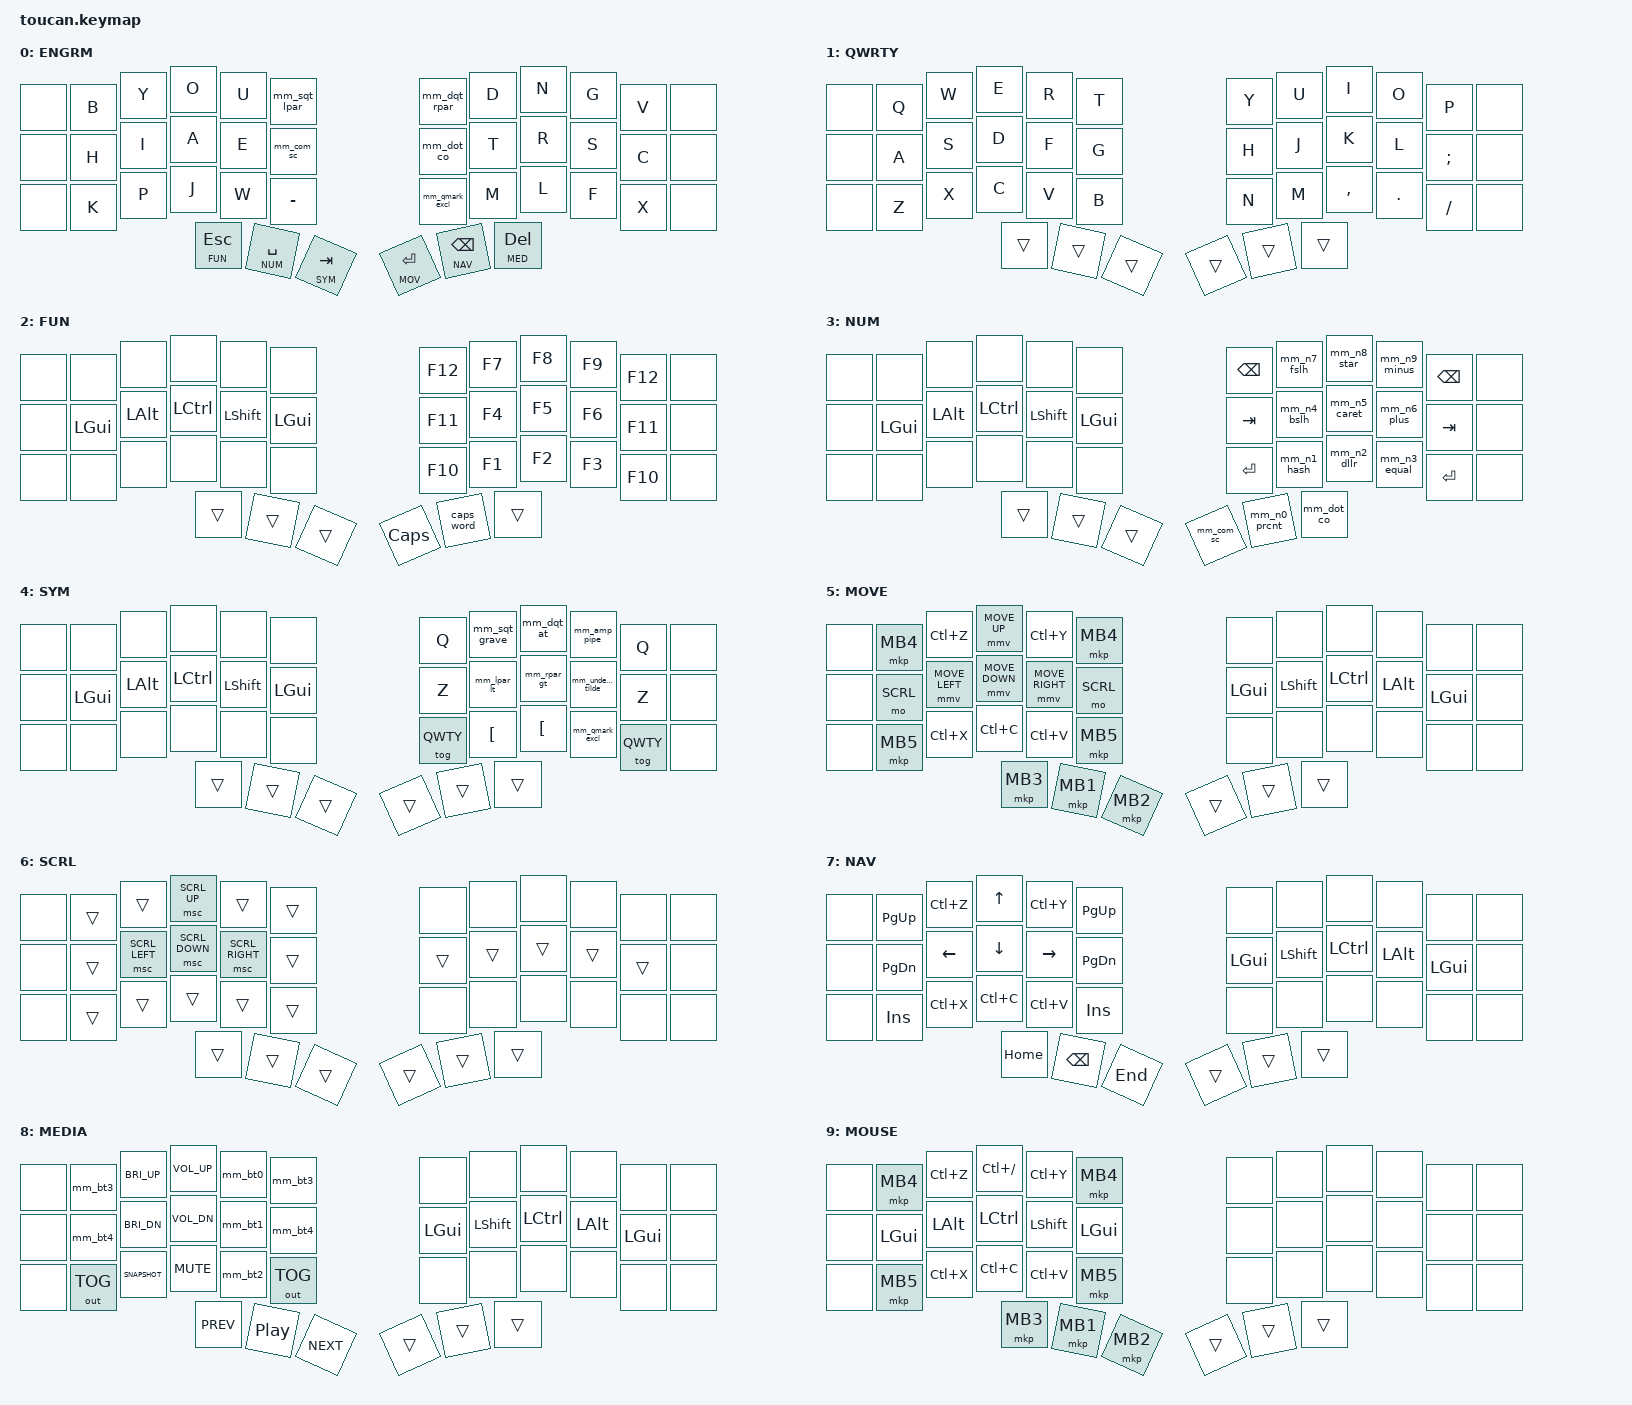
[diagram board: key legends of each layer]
#include <behaviors.dtsi>
#include <dt-bindings/zmk/keys.h>
#include <dt-bindings/zmk/bt.h>
#include <dt-bindings/zmk/outputs.h>
#include <dt-bindings/zmk/pointing.h>
#include <dt-bindings/zmk/rgb.h>

#define BASE  0
#define QWTY  1
#define FUN   2
#define NUM   3
#define SYM   4
#define MOV   5
#define SCRL  6
#define NAV   7
#define MED   8
#define MOS   9

&lt {
    flavor = "balanced";
    //flavor = "hold-preferred";
    //retro-tap;
}; 

/ {

    combos {
        compatible = "zmk,combos";
        combo_lmeta_1 {
            timeout-ms = <50>;
            key-positions = <13 25>;
            bindings = <&kp LGUI>;
        };
        combo_lalt {
            timeout-ms = <50>;
            key-positions = <14 26>;
            bindings = <&kp LALT>;
        };
        combo_lctrl {
            timeout-ms = <50>;
            key-positions = <15 27>;
            bindings = <&kp LCTRL>;
        };
        combo_lshft {
            timeout-ms = <50>;
            key-positions = <16 28>;
            bindings = <&kp LSHFT>;
        };
        combo_lmeta_2 {
            timeout-ms = <50>;
            key-positions = <17 29>;
            bindings = <&kp LGUI>;
        };
        combo_rmeta_1 {
            timeout-ms = <50>;
            key-positions = <18 30>;
            bindings = <&kp RGUI>;
        };
        combo_rshft {
            timeout-ms = <50>;
            key-positions = <19 31>;
            bindings = <&kp RSHFT>;
        };
        combo_rctrl {
            timeout-ms = <50>;
            key-positions = <20 32>;
            bindings = <&kp RCTRL>;
        };
        combo_ralt {
            timeout-ms = <50>;
            key-positions = <21 33>;
            bindings = <&kp RALT>;
        };
        combo_rmeta_2 {
            timeout-ms = <50>;
            key-positions = <22 34>;
            bindings = <&kp RGUI>;
        };
    };

    behaviors {
        // Mod-Morph Definitions for "x/y" (Normal/Shifted)
        mm_amp_pipe: mm_amp_pipe {
            compatible = "zmk,behavior-mod-morph";
            #binding-cells = <0>;
            bindings = <&kp AMPS>, <&kp PIPE>;
            mods = <(MOD_LSFT|MOD_RSFT)>;
        };

        mm_sqt_grave: mm_sqt_grave {
            compatible = "zmk,behavior-mod-morph";
            #binding-cells = <0>;
            bindings = <&kp SQT>, <&kp GRAVE>;
            mods = <(MOD_LSFT|MOD_RSFT)>;
        };

        mm_dqt_at: mm_dqt_at {
            compatible = "zmk,behavior-mod-morph";
            #binding-cells = <0>;
            bindings = <&kp DQT>, <&kp AT>;
            mods = <(MOD_LSFT|MOD_RSFT)>;
        };

        mm_sqt_lpar: mm_sqt_lpar {
            compatible = "zmk,behavior-mod-morph";
            #binding-cells = <0>;
            bindings = <&kp SQT>, <&kp LPAR>;
            mods = <(MOD_LSFT|MOD_RSFT)>;
        };

        mm_dqt_rpar: mm_dqt_rpar {
            compatible = "zmk,behavior-mod-morph";
            #binding-cells = <0>;
            bindings = <&kp DQT>, <&kp RPAR>;
            mods = <(MOD_LSFT|MOD_RSFT)>;
        };

        mm_qmark_excl: mm_qmark_excl {
            compatible = "zmk,behavior-mod-morph";
            #binding-cells = <0>;
            bindings = <&kp QMARK>, <&kp EXCL>;
            mods = <(MOD_LSFT|MOD_RSFT)>;
        };

        mm_underscore_tilde: mm_underscore_tilde {
            compatible = "zmk,behavior-mod-morph";
            #binding-cells = <0>;
            bindings = <&kp UNDER>, <&kp TILDE>;
            mods = <(MOD_LSFT|MOD_RSFT)>;
        };

        // Numerical Morphs
        mm_n7_fslh:  mm_n7_fslh  { compatible = "zmk,behavior-mod-morph"; #binding-cells = <0>; bindings = <&kp N7>, <&kp FSLH>; mods = <(MOD_LSFT|MOD_RSFT)>; };
        mm_n8_star:  mm_n8_star  { compatible = "zmk,behavior-mod-morph"; #binding-cells = <0>; bindings = <&kp N8>, <&kp STAR>;  mods = <(MOD_LSFT|MOD_RSFT)>; };
        mm_n9_minus: mm_n9_minus { compatible = "zmk,behavior-mod-morph"; #binding-cells = <0>; bindings = <&kp N9>, <&kp MINUS>;  mods = <(MOD_LSFT|MOD_RSFT)>; };
        mm_n4_bslh:  mm_n4_bslh  { compatible = "zmk,behavior-mod-morph"; #binding-cells = <0>; bindings = <&kp N4>, <&kp BSLH>;  mods = <(MOD_LSFT|MOD_RSFT)>; };
        mm_n5_caret: mm_n5_caret { compatible = "zmk,behavior-mod-morph"; #binding-cells = <0>; bindings = <&kp N5>, <&kp CARET>;  mods = <(MOD_LSFT|MOD_RSFT)>; };
        mm_n6_plus:  mm_n6_plus  { compatible = "zmk,behavior-mod-morph"; #binding-cells = <0>; bindings = <&kp N6>, <&kp PLUS>; mods = <(MOD_LSFT|MOD_RSFT)>; };
        mm_n1_hash:  mm_n1_hash  { compatible = "zmk,behavior-mod-morph"; #binding-cells = <0>; bindings = <&kp N1>, <&kp HASH>;  mods = <(MOD_LSFT|MOD_RSFT)>; };
        mm_n2_dllr:  mm_n2_dllr  { compatible = "zmk,behavior-mod-morph"; #binding-cells = <0>; bindings = <&kp N2>, <&kp DLLR>;  mods = <(MOD_LSFT|MOD_RSFT)>; };
        mm_n3_equal: mm_n3_equal { compatible = "zmk,behavior-mod-morph"; #binding-cells = <0>; bindings = <&kp N3>, <&kp EQUAL>; mods = <(MOD_LSFT|MOD_RSFT)>; };
        mm_n0_prcnt: mm_n0_prcnt { compatible = "zmk,behavior-mod-morph"; #binding-cells = <0>; bindings = <&kp N0>, <&kp PERCENT>; mods = <(MOD_LSFT|MOD_RSFT)>; };

        // Punctuation Morphs
        mm_com_sc:    mm_com_sc    { compatible = "zmk,behavior-mod-morph"; #binding-cells = <0>; bindings = <&kp COMMA>, <&kp SEMI>; mods = <(MOD_LSFT|MOD_RSFT)>; };
        mm_dot_co:    mm_dot_co    { compatible = "zmk,behavior-mod-morph"; #binding-cells = <0>; bindings = <&kp DOT>, <&kp COLON>;   mods = <(MOD_LSFT|MOD_RSFT)>; };
        mm_lpar_lt:   mm_lpar_lt   { compatible = "zmk,behavior-mod-morph"; #binding-cells = <0>; bindings = <&kp LPAR>, <&kp LT>; mods = <(MOD_LSFT|MOD_RSFT)>; };
        mm_rpar_gt:   mm_rpar_gt   { compatible = "zmk,behavior-mod-morph"; #binding-cells = <0>; bindings = <&kp RPAR>, <&kp GT>; mods = <(MOD_LSFT|MOD_RSFT)>; };

        // BT CLR Macro
        bt_clr: bt_clr {
            compatible = "zmk,behavior-macro-one-param";
            #binding-cells = <1>;
            bindings = <&macro_param_1to2>, <&bt BT_SEL MACRO_PLACEHOLDER>, <&bt BT_CLR>;
        };

        // BT Morphs
        mm_bt0:   mm_bt0   { compatible = "zmk,behavior-mod-morph"; #binding-cells = <0>; bindings = <&bt BT_SEL 0>, <&bt_clr 0>;          mods = <(MOD_LSFT|MOD_RSFT)>; };
        mm_bt1:   mm_bt1   { compatible = "zmk,behavior-mod-morph"; #binding-cells = <0>; bindings = <&bt BT_SEL 1>, <&bt_clr 1>;          mods = <(MOD_LSFT|MOD_RSFT)>; };
        mm_bt2:   mm_bt2   { compatible = "zmk,behavior-mod-morph"; #binding-cells = <0>; bindings = <&bt BT_SEL 2>, <&bt_clr 2>;          mods = <(MOD_LSFT|MOD_RSFT)>; };
        mm_bt3:   mm_bt3   { compatible = "zmk,behavior-mod-morph"; #binding-cells = <0>; bindings = <&bt BT_SEL 3>, <&bt_clr 3>;          mods = <(MOD_LSFT|MOD_RSFT)>; };
        mm_bt4:   mm_bt4   { compatible = "zmk,behavior-mod-morph"; #binding-cells = <0>; bindings = <&bt BT_SEL 4>, <&bt_clr 4>;          mods = <(MOD_LSFT|MOD_RSFT)>; };
    };
    
    keymap {
        compatible = "zmk,keymap";

        base {
            display-name = "ENGRM";
            bindings = <
                &none &kp B &kp Y &kp O &kp U &mm_sqt_lpar    &mm_dqt_rpar   &kp D  &kp N &kp G &kp V &none
                &none &kp H &kp I &kp A &kp E &mm_com_sc      &mm_dot_co     &kp T  &kp R &kp S &kp C &none
                &none &kp K &kp P &kp J &kp W &kp MINUS       &mm_qmark_excl &kp M  &kp L &kp F &kp X &none
                      &lt FUN ESC &lt NUM SPACE &lt SYM TAB   &lt MOV RET &lt NAV BSPC &lt MED DEL
            >;
        };

        qwerty {
            display-name = "QWRTY";
            bindings = <
                &none &kp Q &kp W &kp E &kp R &kp T   &kp Y &kp U  &kp I     &kp O   &kp P    &none
                &none &kp A &kp S &kp D &kp F &kp G   &kp H &kp J  &kp K     &kp L   &kp SEMI &none
                &none &kp Z &kp X &kp C &kp V &kp B   &kp N &kp M  &kp COMMA &kp DOT &kp FSLH &none
                                &trans &trans &trans  &trans &trans &trans
            >;
        };

        function {
            display-name = "FUN";
            bindings = <
                &none &none    &none    &none     &none &none          &kp F12 &kp F7 &kp F8 &kp F9 &kp F12 &none
                &none &kp LGUI &kp LALT &kp LCTRL &kp LSHFT &kp LGUI   &kp F11 &kp F4 &kp F5 &kp F6 &kp F11 &none
                &none &none    &none    &none     &none &none          &kp F10 &kp F1 &kp F2 &kp F3 &kp F10 &none
                                                 &trans &trans &trans  &kp CAPS &caps_word &trans
            >;
        };

        number {
            display-name = "NUM";
            bindings = <
                &none &none    &none    &none     &none &none          &kp BSPC &mm_n7_fslh &mm_n8_star  &mm_n9_minus &kp BSPC &none
                &none &kp LGUI &kp LALT &kp LCTRL &kp LSHFT &kp LGUI   &kp TAB  &mm_n4_bslh &mm_n5_caret &mm_n6_plus  &kp TAB  &none
                &none &none    &none    &none     &none &none          &kp RET  &mm_n1_hash &mm_n2_dllr  &mm_n3_equal &kp RET  &none
                                                 &trans &trans &trans  &mm_com_sc &mm_n0_prcnt &mm_dot_co
            >;
        };

        symbol {
            display-name = "SYM";
            bindings = <
                &none &none    &none    &none     &none &none          &kp Q     &mm_sqt_grave &mm_dqt_at  &mm_amp_pipe         &kp Q     &none
                &none &kp LGUI &kp LALT &kp LCTRL &kp LSHFT &kp LGUI   &kp Z     &mm_lpar_lt   &mm_rpar_gt &mm_underscore_tilde &kp Z     &none
                &none &none    &none    &none     &none &none          &tog QWTY &kp LBKT      &kp LBKT    &mm_qmark_excl       &tog QWTY &none
                                                 &trans &trans &trans  &trans &trans &trans
            >;
        };

        movement {
            display-name = "MOVE";
            bindings = <
                &none &mkp MB4 &kp LC(Z)      &mmv MOVE_UP   &kp LC(Y)       &mkp MB4   &none    &none     &none     &none    &none    &none
                &none &mo SCRL &mmv MOVE_LEFT &mmv MOVE_DOWN &mmv MOVE_RIGHT &mo SCRL   &kp LGUI &kp LSHFT &kp LCTRL &kp LALT &kp LGUI &none
                &none &mkp MB5 &kp LC(X)      &kp LC(C)      &kp LC(V)       &mkp MB5   &none    &none     &none     &none    &none    &none
                                                            &mkp MB3 &mkp MB1 &mkp MB2  &trans &trans &trans
            >;
        };

        scrolling {
            display-name = "SCRL";
            bindings = <
                &none &trans &trans         &msc SCRL_UP   &trans          &trans   &none    &none    &none     &none  &none       &none
                &none &trans &msc SCRL_LEFT &msc SCRL_DOWN &msc SCRL_RIGHT &trans   &trans   &trans   &trans    &trans &trans      &none
                &none &trans &trans         &trans         &trans          &trans   &none    &none    &none     &none  &none       &none
                                                               &trans &trans &trans &trans &trans &trans
            >;
        };

        navigation {
            display-name = "NAV";
            bindings = <
                &none &kp PG_UP &kp LC(Z) &kp UP    &kp LC(Y) &kp PG_UP   &none    &none    &none    &none   &none   &none
                &none &kp PG_DN &kp LEFT  &kp DOWN  &kp RIGHT &kp PG_DN   &kp LGUI &kp LSHFT &kp LCTRL &kp LALT &kp LGUI &none
                &none &kp INS   &kp LC(X) &kp LC(C) &kp LC(V) &kp INS     &none    &none    &none    &none   &none   &none
                                               &kp HOME &kp BSPC &kp END  &trans &trans &trans
            >;
        };

        media {
            display-name = "MEDIA";
            bindings = <
                &none &mm_bt3      &kp C_BRI_UP   &kp C_VOL_UP &mm_bt0 &mm_bt3          &none  &none  &none  &none  &none  &none
                &none &mm_bt4      &kp C_BRI_DN   &kp C_VOL_DN &mm_bt1 &mm_bt4          &kp LGUI &kp LSHFT &kp LCTRL &kp LALT &kp LGUI &none
                &none &out OUT_TOG &kp C_SNAPSHOT &kp C_MUTE   &mm_bt2 &out OUT_TOG     &none  &none  &none  &none  &none  &none
                                                         &kp C_PREV &kp C_PP &kp C_NEXT &trans &trans &trans
            >;
        };

        mouse {
            display-name = "MOUSE";
            bindings = <
                &none &mkp MB4 &kp LC(Z) &kp LC(FSLH)  &kp LC(Y)  &mkp MB4   &none &none &none &none &none &none
                &none &kp LGUI &kp LALT  &kp LCTRL     &kp LSHFT  &kp LGUI   &none &none &none &none &none &none
                &none &mkp MB5 &kp LC(X) &kp LC(C)     &kp LC(V)  &mkp MB5   &none &none &none &none &none &none
                                                 &mkp MB3 &mkp MB1 &mkp MB2  &trans &trans &trans
            >;
        };
    };
};
